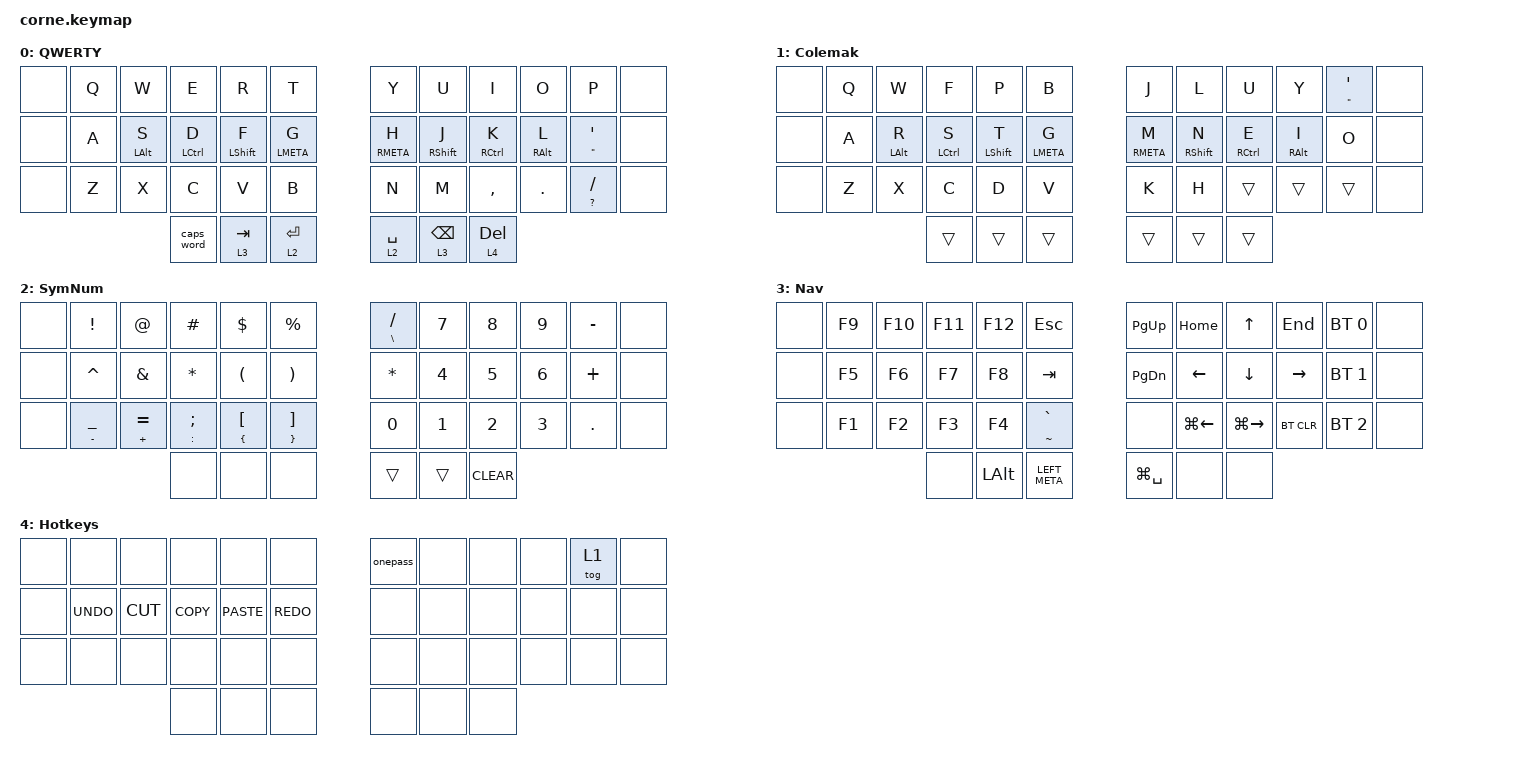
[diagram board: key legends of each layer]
/*
 * Copyright (c) 2020 The ZMK Contributors
 *
 * SPDX-License-Identifier: MIT
 */

#include <behaviors.dtsi>
#include <dt-bindings/zmk/bt.h>
#include <dt-bindings/zmk/keys.h>

/ {
    behaviors {
        rpi: require_prior_idle {
            compatible = "zmk,behavior-hold-tap";
            #binding-cells = <2>;
            flavor = "tap-preferred";
            tapping-term-ms = <200>;
            quick-tap-ms = <200>;
            require-prior-idle-ms = <125>;
            bindings = <&kp>, <&kp>;
        };
    };

    macros {
        onepass: op {
            compatible = "zmk,behavior-macro";
            #binding-cells = <0>;
            bindings = <&kp LS(O) &kp K &kp Z &kp S &kp F &kp N4 &kp O &kp N8 &kp N3 &kp C &kp A &kp B &kp Z &kp DOT &kp N9 &kp E &kp N4 &kp B &kp S &kp N &kp A &kp LS(P) &kp RETURN>;
            label = "OP";
        };
    };

    keymap {
        compatible = "zmk,keymap";

        QWERTY {
            // -----------------------------------------------------------------------------------------
            // |  TAB |  Q  |  W  |  E  |  R  |  T  |   |  Y  |  U   |  I  |  O  |  P  | BKSP |
            // | CTRL |  A  |  S  |  D  |  F  |  G  |   |  H  |  J   |  K  |  L  |  ;  |  '   |
            // | SHFT |  Z  |  X  |  C  |  V  |  B  |   |  N  |  M   |  ,  |  .  |  /  | ESC  |
            //                    | GUI | LWR | SPC |   | ENT | RSE  | ALT |

            display-name = "QWERTY";
            bindings = <
&none  &kp Q  &kp W           &kp E        &kp R         &kp T           &kp Y        &kp U            &kp I        &kp O            &kp P              &none
&none  &kp A  &mt LEFT_ALT S  &mt LCTRL D  &mt LSHIFT F  &mt LMETA G     &mt RMETA H  &mt RSHIFT J     &mt RCTRL K  &mt RIGHT_ALT L  &mt DQT SQT        &none
&none  &kp Z  &kp X           &kp C        &kp V         &kp B           &kp N        &kp M            &kp COMMA    &kp DOT          &mt QUESTION FSLH  &none
                              &caps_word   &lt 3 TAB     &lt 2 RETURN    &lt 2 SPACE  &lt 3 BACKSPACE  &lt 4 DEL
            >;
        };

        COLEMAK-DH {
            display-name = "Colemak";
            bindings = <
&none  &kp Q  &kp W           &kp F        &kp P         &kp B          &kp J        &kp L         &kp U        &kp Y            &mt DQT SQT  &none
&none  &kp A  &mt LEFT_ALT R  &mt LCTRL S  &mt LSHIFT T  &mt LMETA G    &mt RMETA M  &mt RSHIFT N  &mt RCTRL E  &mt RIGHT_ALT I  &kp O        &none
&none  &kp Z  &kp X           &kp C        &kp D         &kp V          &kp K        &kp H         &trans       &trans           &trans       &none
                              &trans       &trans        &trans         &trans       &trans        &trans
            >;
        };

        SYM_NUM {
            display-name = "SymNum";
            bindings = <
&none  &kp EXCL              &kp AT          &kp HASH        &kp DLLR             &kp PRCNT        &mt BSLH FSLH  &kp N7        &kp N8        &kp N9        &kp MINUS  &none
&none  &kp CARET             &kp AMPS        &kp ASTRK       &kp LPAR             &kp RPAR         &kp ASTERISK   &kp NUMBER_4  &kp N5        &kp NUMBER_6  &kp PLUS   &none
&none  &mt MINUS UNDERSCORE  &mt PLUS EQUAL  &mt COLON SEMI  &mt LEFT_BRACE LBKT  &mt RBRC RBKT    &kp N0         &kp NUMBER_1  &kp NUMBER_2  &kp NUMBER_3  &kp DOT    &none
                                             &none           &none                &none            &trans         &trans        &kp CLEAR
            >;
        };

        NAV {
            display-name = "Nav";
            bindings = <
&none  &kp F9  &kp F10  &kp F11  &kp F12       &kp ESC            &kp PG_UP      &kp HOME      &kp UP         &kp END     &bt BT_SEL 0  &none
&none  &kp F5  &kp F6   &kp F7   &kp F8        &kp TAB            &kp PG_DN      &kp LEFT      &kp DOWN       &kp RIGHT   &bt BT_SEL 1  &none
&none  &kp F1  &kp F2   &kp F3   &kp F4        &mt TILDE GRAVE    &none          &kp LG(LEFT)  &kp LG(RIGHT)  &bt BT_CLR  &bt BT_SEL 2  &none
                        &none    &kp LEFT_ALT  &kp LEFT_META      &kp LG(SPACE)  &none         &none
            >;
        };

        hotkeys {
            display-name = "Hotkeys";
            bindings = <
&none  &none       &none      &none       &none        &none         &onepass  &none  &none  &none  &tog 1  &none
&none  &kp K_UNDO  &kp K_CUT  &kp K_COPY  &kp K_PASTE  &kp K_REDO    &none     &none  &none  &none  &none   &none
&none  &none       &none      &none       &none        &none         &none     &none  &none  &none  &none   &none
                              &none       &none        &none         &none     &none  &none
            >;
        };
    };
};
